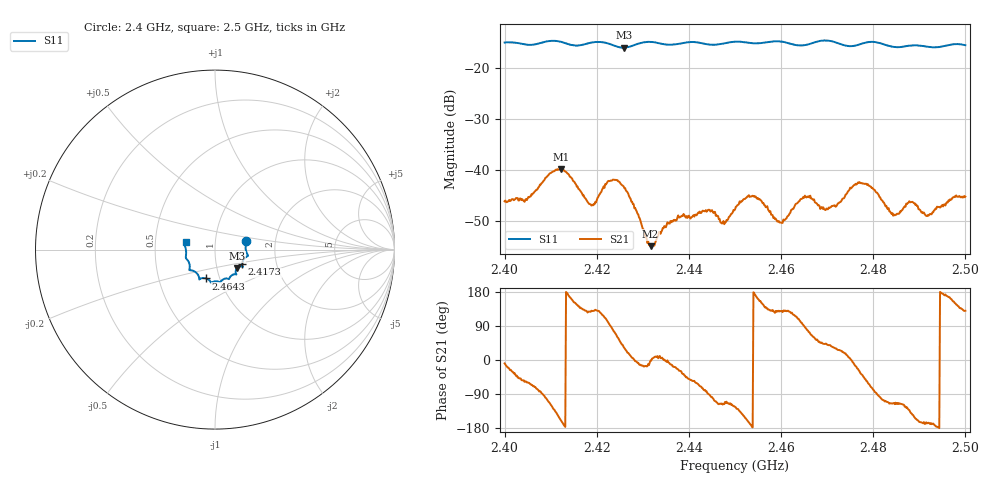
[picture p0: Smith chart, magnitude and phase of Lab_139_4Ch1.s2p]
# Hz S RI R 50
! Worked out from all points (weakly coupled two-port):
!   601 points, 2.4 GHz to 2.5 GHz, reference 50 ohm
!   highest |S21| = -39.83 dB at 2.4123 GHz (marker M1); lowest = -55.0 dB at 2.4317 GHz (marker M2)
!   lowest |S11| = -15.9 dB at 2.4258 GHz (marker M3), VSWR 1.38, Z = 62.3 - j13.3 ohm
!   |S11| at or under -10 dB: start of sweep to end of sweep
!   S12 and S22 are empty: the file has one direction only
!   S11 on the Smith chart (normalised r, x): 2.4 GHz: 1.41, +0.14; 2.4173 GHz: 1.34, -0.23; 2.4643 GHz: 0.86, -0.28; 2.5 GHz: 0.72, +0.06
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2.4e9  0.173 0.0495  0.00487 -0.000765  0 0  0 0
2.4045e9  0.1707 0.0198  0.00283 -0.00425  0 0  0 0
2.412333e9  0.1783 -0.038  -0.00966 -0.00327  0 0  0 0
2.416667e9  0.1526 -0.0744  -0.00431 0.00418  0 0  0 0
2.417333e9  0.1521 -0.0818  -0.00357 0.004  0 0  0 0
2.425833e9  0.1219 -0.1036  0.0057 0.00386  0 0  0 0
2.431667e9  0.1191 -0.1383  0.00178 -4.45e-05  0 0  0 0
2.433333e9  0.1129 -0.137  0.00224 0.000181  0 0  0 0
2.438e9  0.0828 -0.1543  0.00299 -0.00163  0 0  0 0
2.4445e9  0.0596 -0.161  -0.000156 -0.00405  0 0  0 0
2.4475e9  0.038 -0.1716  -0.00136 -0.00283  0 0  0 0
2.45e9  0.0296 -0.1809  -0.00224 -0.00341  0 0  0 0
2.454167e9  0.00871 -0.1765  -0.00554 0.000445  0 0  0 0
2.459833e9  -0.0234 -0.1829  -0.00192 0.00236  0 0  0 0
2.464333e9  -0.05 -0.1605  -0.000805 0.00513  0 0  0 0
2.466667e9  -0.0758 -0.1598  0.0022 0.00474  0 0  0 0
2.47e9  -0.0877 -0.1664  0.00314 0.00266  0 0  0 0
2.477167e9  -0.1283 -0.1163  0.00622 -0.00413  0 0  0 0
2.483333e9  -0.1408 -0.0897  -0.00161 -0.0039  0 0  0 0
2.488333e9  -0.161 -0.0491  -0.00377 -0.00301  0 0  0 0
2.491833e9  -0.1612 -0.0269  -0.00349 -0.000877  0 0  0 0
2.5e9  -0.1638 0.0424  -0.00351 0.00419  0 0  0 0
